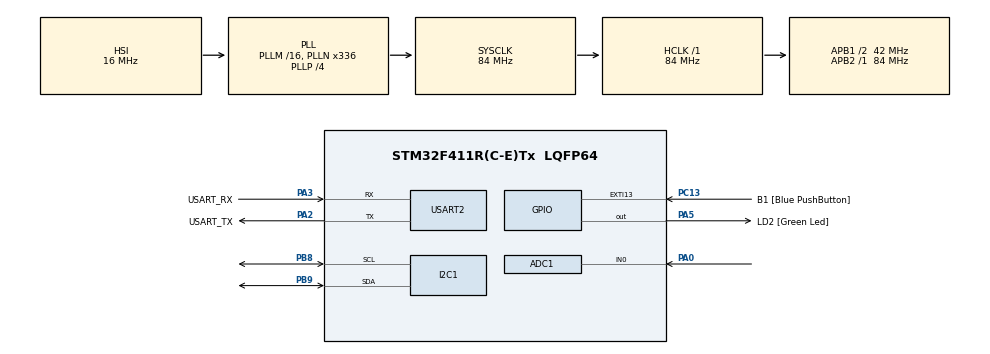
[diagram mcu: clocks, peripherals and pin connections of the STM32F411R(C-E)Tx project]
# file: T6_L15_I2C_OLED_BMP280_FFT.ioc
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ADC1.Channel-0\#ChannelRegularConversion=ADC_CHANNEL_0
ADC1.DMAContinuousRequests=ENABLE
ADC1.ExternalTrigConv=ADC_EXTERNALTRIGCONV_T2_TRGO
ADC1.NbrOfConversionFlag=1
ADC1.Rank-0\#ChannelRegularConversion=1
ADC1.SamplingTime-0\#ChannelRegularConversion=ADC_SAMPLETIME_3CYCLES
ADC1.master=1
Dma.ADC1.1.Direction=DMA_PERIPH_TO_MEMORY
Dma.ADC1.1.FIFOMode=DMA_FIFOMODE_DISABLE
Dma.ADC1.1.Instance=DMA2_Stream0
Dma.ADC1.1.MemDataAlignment=DMA_MDATAALIGN_HALFWORD
Dma.ADC1.1.MemInc=DMA_MINC_ENABLE
Dma.ADC1.1.Mode=DMA_CIRCULAR
Dma.ADC1.1.PeriphDataAlignment=DMA_PDATAALIGN_HALFWORD
Dma.ADC1.1.PeriphInc=DMA_PINC_DISABLE
Dma.ADC1.1.Priority=DMA_PRIORITY_LOW
Dma.I2C1_TX.0.Direction=DMA_MEMORY_TO_PERIPH
Dma.I2C1_TX.0.FIFOMode=DMA_FIFOMODE_DISABLE
Dma.I2C1_TX.0.Instance=DMA1_Stream1
Dma.I2C1_TX.0.MemDataAlignment=DMA_MDATAALIGN_BYTE
Dma.I2C1_TX.0.MemInc=DMA_MINC_ENABLE
Dma.I2C1_TX.0.Mode=DMA_NORMAL
Dma.I2C1_TX.0.PeriphDataAlignment=DMA_PDATAALIGN_BYTE
Dma.I2C1_TX.0.PeriphInc=DMA_PINC_DISABLE
Dma.I2C1_TX.0.Priority=DMA_PRIORITY_LOW
Dma.Request0=I2C1_TX
Dma.Request1=ADC1
I2C1.I2C_Mode=I2C_Fast
Mcu.Family=STM32F4
Mcu.Name=STM32F411R(C-E)Tx
Mcu.Package=LQFP64
NVIC.ADC_IRQn=true\:0\:0\:false\:true\:true\:4\:true\:true
NVIC.DMA1_Stream1_IRQn=true\:0\:0\:false\:true\:true\:2\:false\:true
NVIC.DMA2_Stream0_IRQn=true\:0\:0\:false\:true\:true\:3\:false\:true
NVIC.I2C1_EV_IRQn=true\:0\:0\:false\:true\:true\:1\:true\:true
NVIC.PriorityGroup=NVIC_PRIORITYGROUP_0
PA0-WKUP.Signal=ADCx_IN0
PA13.GPIO_Label=TMS
PA13.Mode=Serial_Wire
PA13.Signal=SYS_JTMS-SWDIO
PA14.GPIO_Label=TCK
PA14.Mode=Serial_Wire
PA14.Signal=SYS_JTCK-SWCLK
PA2.GPIO_Label=USART_TX
PA2.Mode=Asynchronous
PA2.Signal=USART2_TX
PA3.GPIO_Label=USART_RX
PA3.Mode=Asynchronous
PA3.Signal=USART2_RX
PA5.GPIO_Label=LD2 [Green Led]
PA5.Signal=GPIO_Output
PB3.GPIO_Label=SWO
PB3.Signal=SYS_JTDO-SWO
PB8.Mode=I2C
PB8.Signal=I2C1_SCL
PB9.Mode=I2C
PB9.Signal=I2C1_SDA
PC13-ANTI_TAMP.GPIO_Label=B1 [Blue PushButton]
PC13-ANTI_TAMP.GPIO_ModeDefaultEXTI=GPIO_MODE_IT_FALLING
PC13-ANTI_TAMP.Signal=GPXTI13
PC14-OSC32_IN.Mode=LSE-External-Oscillator
PC14-OSC32_IN.Signal=RCC_OSC32_IN
PC15-OSC32_OUT.Mode=LSE-External-Oscillator
PC15-OSC32_OUT.Signal=RCC_OSC32_OUT
PH0\ -\ OSC_IN.Mode=HSE-External-Clock-Source
PH0\ -\ OSC_IN.Signal=RCC_OSC_IN
PH1\ -\ OSC_OUT.Mode=HSE-External-Clock-Source
PH1\ -\ OSC_OUT.Signal=RCC_OSC_OUT
ProjectManager.HeapSize=0x200
ProjectManager.StackSize=0x400
ProjectManager.TargetToolchain=STM32CubeIDE
RCC.48MHZClocksFreq_Value=84000000
RCC.AHBFreq_Value=84000000
RCC.APB1CLKDivider=RCC_HCLK_DIV2
RCC.APB1Freq_Value=42000000
RCC.APB1TimFreq_Value=84000000
RCC.APB2Freq_Value=84000000
RCC.APB2TimFreq_Value=84000000
RCC.CortexFreq_Value=84000000
RCC.FLatency-AdvancedSettings=FLASH_LATENCY_2
RCC.HCLKFreq_Value=84000000
RCC.HSE_VALUE=8000000
RCC.HSI_VALUE=16000000
RCC.PLLN=336
RCC.PLLP=RCC_PLLP_DIV4
RCC.SYSCLKFreq_VALUE=84000000
RCC.SYSCLKSource=RCC_SYSCLKSOURCE_PLLCLK
RCC.VCOOutputFreq_Value=336000000
SH.ADCx_IN0.0=ADC1_IN0,IN0
TIM2.Period=634
TIM2.Prescaler=2
TIM2.TIM_MasterOutputTrigger=TIM_TRGO_UPDATE
USART2.VirtualMode=VM_ASYNC
VP_TIM2_VS_ClockSourceINT.Mode=Internal
board=NUCLEO-F411RE

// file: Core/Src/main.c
/* USER CODE BEGIN Header */
/**
  ******************************************************************************
  * @file           : main.c
  * @brief          : Main program body
  ******************************************************************************
  * @attention
  *
  * Copyright (c) 2022 STMicroelectronics.
  * All rights reserved.
  *
  * This software is licensed under terms that can be found in the LICENSE file
  * in the root directory of this software component.
  * If no LICENSE file comes with this software, it is provided AS-IS.
  *
  ******************************************************************************
  */
/* USER CODE END Header */
#include "main.h"
#include "adc.h"
#include "dma.h"
#include "i2c.h"
#include "tim.h"
#include "usart.h"
#include "gpio.h"

/* USER CODE BEGIN Includes */
#include "SSD1306_OLED.h"
#include "GFX_BW.h"
#include "fonts/fonts.h"
#include "bmp280.h"
#include "stdio.h"
#include "arm_math.h"
//#include "math.h"
/* USER CODE END Includes */

/* USER CODE BEGIN PTD */
#define BMP280_ADDRESS 0x76
#define FFT_SAMPLES 1024
/* USER CODE END PTD */

/* USER CODE BEGIN PV */
BMP280_t Bmp280;
float Pressure,Temp;

uint32_t SoftTimerBMP;
uint32_t SoftTimerOLED;

char Message[32];

//FFT
uint16_t AdcMicrophone[FFT_SAMPLES];

float FFTInBuffer[FFT_SAMPLES];
float FFTOutBuffer[FFT_SAMPLES];

arm_rfft_fast_instance_f32 FFTHandler;

volatile uint8_t SamplesReady;

uint8_t OutFreqArray[10];
/* USER CODE END PV */

void SystemClock_Config(void);
static void MX_NVIC_Init(void);
/* USER CODE BEGIN PFP */
void CalculateFFT(void);
/* USER CODE END PFP */

int main(void)
{

  /* MCU Configuration--------------------------------------------------------*/

  /* Reset of all peripherals, Initializes the Flash interface and the Systick. */
  HAL_Init();

  /* Configure the system clock */
  SystemClock_Config();

  /* Initialize all configured peripherals */
  MX_GPIO_Init();
  MX_USART2_UART_Init();
  MX_DMA_Init();
  MX_I2C1_Init();
  MX_ADC1_Init();
  MX_TIM2_Init();

  /* Initialize interrupts */
  MX_NVIC_Init();
  /* USER CODE BEGIN 2 */

  SSD1306_Init(&hi2c1);

  HAL_TIM_Base_Start(&htim2);
  HAL_ADC_Start_DMA(&hadc1,(uint32_t*)&AdcMicrophone,FFT_SAMPLES);

  arm_rfft_fast_init_f32(&FFTHandler, FFT_SAMPLES);

  BMP280_Init(&Bmp280, &hi2c1, BMP280_ADDRESS);

  GFX_SetFont(font_8x5);
  SSD1306_Clear(BLACK);
  SSD1306_Display();

  SoftTimerBMP = HAL_GetTick();
  SoftTimerOLED= HAL_GetTick();

  /* USER CODE END 2 */

  /* Infinite loop */
  /* USER CODE BEGIN WHILE */
  while (1)
  {
	  //
	  //FFT
	  //
	  if(SamplesReady == 1)
	  {
		  SamplesReady = 0;
		  for(uint32_t i = 0; i < FFT_SAMPLES; i++)
		  {
			  FFTInBuffer[i] = (float)AdcMicrophone[i];
		  }

		  CalculateFFT();
	  }
	  //
	  //BMP280
	  //
	  if((HAL_GetTick() - SoftTimerBMP) > 10)
	  {
		  SoftTimerBMP = HAL_GetTick();
		  if(Bmp280.bmp_i2c->State == HAL_I2C_STATE_READY)
		  {
			  BMP280_ReadPressureAndTemperature(&Bmp280, &Pressure, &Temp);
		  }
	  }
	  //
	  //OLED
	  //
	  if((HAL_GetTick() - SoftTimerOLED) > 100)
	  {
		  SSD1306_Clear(BLACK);
		  SoftTimerOLED = HAL_GetTick();
		  sprintf(Message, "Press: %.2f hPa", Pressure);
		  GFX_DrawString(0,0,Message,WHITE,0);

		  sprintf(Message, "Temp: %.2f C", Temp);
		  GFX_DrawString(0,10,Message,WHITE,0);

		  for(uint8_t i = 0; i < 10; i++)
		  {
			  GFX_DrawFillRectangle(10+(i*11), 64-OutFreqArray[i], 10, OutFreqArray[i], WHITE);
		  }
		  SSD1306_Display();
	  }

    /* USER CODE END WHILE */

  }
}

void SystemClock_Config(void)
{
  RCC_OscInitTypeDef RCC_OscInitStruct = {0};
  RCC_ClkInitTypeDef RCC_ClkInitStruct = {0};

  /** Configure the main internal regulator output voltage
  */
  __HAL_RCC_PWR_CLK_ENABLE();
  __HAL_PWR_VOLTAGESCALING_CONFIG(PWR_REGULATOR_VOLTAGE_SCALE1);
  /** Initializes the RCC Oscillators according to the specified parameters
  * in the RCC_OscInitTypeDef structure.
  */
  RCC_OscInitStruct.OscillatorType = RCC_OSCILLATORTYPE_HSI;
  RCC_OscInitStruct.HSIState = RCC_HSI_ON;
  RCC_OscInitStruct.HSICalibrationValue = RCC_HSICALIBRATION_DEFAULT;
  RCC_OscInitStruct.PLL.PLLState = RCC_PLL_ON;
  RCC_OscInitStruct.PLL.PLLSource = RCC_PLLSOURCE_HSI;
  RCC_OscInitStruct.PLL.PLLM = 16;
  RCC_OscInitStruct.PLL.PLLN = 336;
  RCC_OscInitStruct.PLL.PLLP = RCC_PLLP_DIV4;
  RCC_OscInitStruct.PLL.PLLQ = 4;
  if (HAL_RCC_OscConfig(&RCC_OscInitStruct) != HAL_OK)
  {
    Error_Handler();
  }
  /** Initializes the CPU, AHB and APB buses clocks
  */
  RCC_ClkInitStruct.ClockType = RCC_CLOCKTYPE_HCLK|RCC_CLOCKTYPE_SYSCLK
                              |RCC_CLOCKTYPE_PCLK1|RCC_CLOCKTYPE_PCLK2;
  RCC_ClkInitStruct.SYSCLKSource = RCC_SYSCLKSOURCE_PLLCLK;
  RCC_ClkInitStruct.AHBCLKDivider = RCC_SYSCLK_DIV1;
  RCC_ClkInitStruct.APB1CLKDivider = RCC_HCLK_DIV2;
  RCC_ClkInitStruct.APB2CLKDivider = RCC_HCLK_DIV1;

  if (HAL_RCC_ClockConfig(&RCC_ClkInitStruct, FLASH_LATENCY_2) != HAL_OK)
  {
    Error_Handler();
  }
}

/**
  * @brief NVIC Configuration.
  * @retval None
  */
static void MX_NVIC_Init(void)
{
  /* I2C1_EV_IRQn interrupt configuration */
  HAL_NVIC_SetPriority(I2C1_EV_IRQn, 0, 0);
  HAL_NVIC_EnableIRQ(I2C1_EV_IRQn);
  /* DMA1_Stream1_IRQn interrupt configuration */
  HAL_NVIC_SetPriority(DMA1_Stream1_IRQn, 0, 0);
  HAL_NVIC_EnableIRQ(DMA1_Stream1_IRQn);
  /* DMA2_Stream0_IRQn interrupt configuration */
  HAL_NVIC_SetPriority(DMA2_Stream0_IRQn, 0, 0);
  HAL_NVIC_EnableIRQ(DMA2_Stream0_IRQn);
  /* ADC_IRQn interrupt configuration */
  HAL_NVIC_SetPriority(ADC_IRQn, 0, 0);
  HAL_NVIC_EnableIRQ(ADC_IRQn);
}

/* USER CODE BEGIN 4 */
void HAL_ADC_ConvCpltCallback(ADC_HandleTypeDef* hadc)
{
	if(hadc->Instance == ADC1){
		SamplesReady = 1;
	}
}

float complexABS(float real,float compl)
{
	return sqrtf(real*real+compl*compl);
}

void CalculateFFT()
{
	arm_rfft_fast_f32(&FFTHandler,FFTInBuffer,FFTOutBuffer, 0);

	int Freqs[FFT_SAMPLES];
	int FreqPoint = 0;
	int Offset = 65; // variable noise floor offset

	//calculate abs values and linear-to-db
	for (int i = 0; i < FFT_SAMPLES; i = i+2)
		{
			Freqs[FreqPoint] = (int)(20*log10f(complexABS(FFTOutBuffer[i], FFTOutBuffer[i+1]))) - Offset;

			if(Freqs[FreqPoint] < 0)
			{
				Freqs[FreqPoint] = 0;
			}
			FreqPoint++;
		}
	OutFreqArray[0] = (uint8_t)Freqs[1]; // 22 Hz
	OutFreqArray[1] = (uint8_t)Freqs[2]; // 63 Hz
	OutFreqArray[2] = (uint8_t)Freqs[3]; // 125 Hz
	OutFreqArray[3] = (uint8_t)Freqs[6]; // 250 Hz
	OutFreqArray[4] = (uint8_t)Freqs[12]; // 500 Hz
	OutFreqArray[5] = (uint8_t)Freqs[23]; // 1000 Hz
	OutFreqArray[6] = (uint8_t)Freqs[51]; // 2200 Hz
	OutFreqArray[7] = (uint8_t)Freqs[104]; // 4500 Hz
	OutFreqArray[8] = (uint8_t)Freqs[207]; // 9000 Hz
	OutFreqArray[9] = (uint8_t)Freqs[344]; // 15000 Hz

}
/* USER CODE END 4 */

void Error_Handler(void)
{
  __disable_irq();
  while (1)
  {
  }
}
